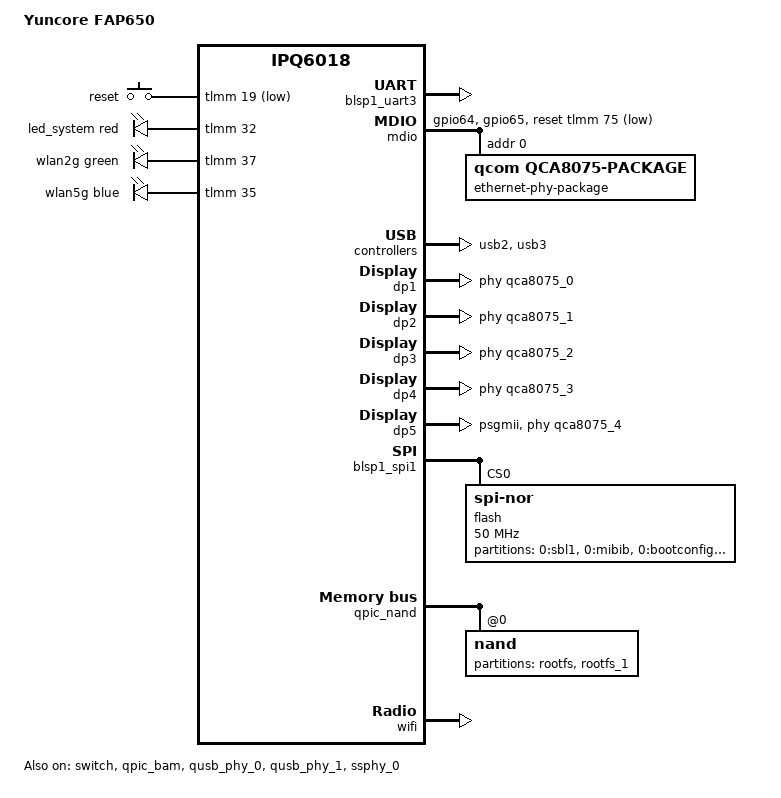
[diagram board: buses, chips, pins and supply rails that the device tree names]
// SPDX-License-Identifier: MIT, GPL-2.0 or later
/* Copyright (c) 2023, Ruslan Isaev <legale.legale@gmail.com> */

/dts-v1/;

#include "ipq6018-512m.dtsi"
#include "ipq6018-cp-cpu.dtsi"
#include "ipq6018-ess.dtsi"
#include <dt-bindings/gpio/gpio.h>
#include <dt-bindings/input/input.h>
#include <dt-bindings/leds/common.h>

/ {
	model = "Yuncore FAP650";
	compatible = "yuncore,fap650", "qcom,ipq6018";
	
	aliases {
		ethernet0 = &dp5;
		ethernet1 = &dp4;
		ethernet2 = &dp3;
		ethernet3 = &dp2;
		ethernet4 = &dp1;
		label-mac-device = &dp5;
		serial0 = &blsp1_uart3;
		led-boot = &led_system;
		led-failsafe = &led_system;
		led-running = &led_system;
		led-upgrade = &led_system;
	};

	chosen {
		stdout-path = "serial0:115200n8";
		bootargs-append = " root=/dev/ubiblock0_1";
	};

	keys {
		compatible = "gpio-keys";

		reset {
			label = "reset";
			gpios = <&tlmm 19 GPIO_ACTIVE_LOW>;
			linux,code = <KEY_RESTART>;
		};
	};

	leds {
		compatible = "gpio-leds";

		led_system: system {
			color = <LED_COLOR_ID_RED>;
			function = LED_FUNCTION_STATUS;
			gpios = <&tlmm 32 GPIO_ACTIVE_HIGH>;
		};

		wlan2g {
			color = <LED_COLOR_ID_GREEN>;
			function = LED_FUNCTION_WLAN_2GHZ;
			gpios = <&tlmm 37 GPIO_ACTIVE_HIGH>;
		};

		wlan5g {
			color = <LED_COLOR_ID_BLUE>;
			function = LED_FUNCTION_WLAN_5GHZ;
			gpios = <&tlmm 35 GPIO_ACTIVE_HIGH>;
		};
	};
};

&blsp1_uart3 {
	pinctrl-0 = <&serial_3_pins>;
	pinctrl-names = "default";
	status = "okay";
};

&tlmm {
	mdio_pins: mdio-pins {
		mdc {
			pins = "gpio64";
			function = "mdc";
			drive-strength = <8>;
			bias-pull-up;
		};

		mdio {
			pins = "gpio65";
			function = "mdio";
			drive-strength = <8>;
			bias-pull-up;
		};
	};
};

&mdio {
	status = "okay";
	pinctrl-0 = <&mdio_pins>;
	pinctrl-names = "default";
	reset-gpios = <&tlmm 75 GPIO_ACTIVE_LOW>;
	reset-delay-us = <10000>;
	reset-post-delay-us = <50000>;

	ethernet-phy-package@0 {
		#address-cells = <1>;
		#size-cells = <0>;
		compatible = "qcom,qca8075-package";
		reg = <0>;

		qcom,package-mode = "psgmii";

		qca8075_0: ethernet-phy@0 {
			compatible = "ethernet-phy-ieee802.3-c22";
			reg = <0>;
		};

		qca8075_1: ethernet-phy@1 {
			compatible = "ethernet-phy-ieee802.3-c22";
			reg = <1>;
		};

		qca8075_2: ethernet-phy@2 {
			compatible = "ethernet-phy-ieee802.3-c22";
			reg = <2>;
		};

		qca8075_3: ethernet-phy@3 {
			compatible = "ethernet-phy-ieee802.3-c22";
			reg = <3>;
		};

		qca8075_4: ethernet-phy@4 {
			compatible = "ethernet-phy-ieee802.3-c22";
			reg = <4>;
		};
	};
};

&switch {
	status = "okay";
	switch_lan_bmp = <(ESS_PORT1|ESS_PORT2|ESS_PORT3|ESS_PORT4)>; /* lan port bitmap */
	switch_wan_bmp = <ESS_PORT5>; /* wan port bitmap */
	switch_mac_mode = <MAC_MODE_PSGMII>; /* mac mode for uniphy instance0*/

	qcom,port_phyinfo {
		port@1 {
			port_id = <1>;
			phy_address = <0>;
		};

		port@2 {
			port_id = <2>;
			phy_address = <1>;
		};

		port@3 {
			port_id = <3>;
			phy_address = <2>;
		};

		port@4 {
			port_id = <4>;
			phy_address = <3>;
		};

		port@5 {
			port_id = <5>;
			phy_address = <4>;
		};
	};
};

&usb2 {
	status = "okay";
};

&usb3 {
	status = "okay";
};

&edma {
	status = "okay";
};

&dp1 {
	status = "okay";
	phy-handle = <&qca8075_0>;
	label = "lan1";
};

&dp2 {
	status = "okay";
	phy-handle = <&qca8075_1>;
	label = "lan2";
};

&dp3 {
	status = "okay";
	phy-handle = <&qca8075_2>;
	label = "lan3";
};

&dp4 {
	status = "okay";
	phy-handle = <&qca8075_3>;
	label = "lan4";
};

&dp5 {
	status = "okay";
	phy-handle = <&qca8075_4>;
	phy-mode = "psgmii";
	label = "wan";
};

&qpic_bam {
	status = "okay";
};

&blsp1_spi1 {
	status = "okay";
	
	flash@0 {
		#address-cells = <1>;
		#size-cells = <1>;
		reg = <0>;
		compatible = "jedec,spi-nor";
		spi-max-frequency = <50000000>;

		partitions {
			compatible = "fixed-partitions";

			partition@0 {
				reg = <0x00000000 0x000c0000>;
				label = "0:sbl1";
			};

			partition@c0000 {
				reg = <0x000c0000 0x00010000>;
				label = "0:mibib";
			};

			partition@d0000 {
				reg = <0x000d0000 0x00020000>;
				label = "0:bootconfig";
			};

			partition@f0000 {
				reg = <0x000f0000 0x00020000>;
				label = "0:bootconfig1";
			};

			partition@110000 {
				reg = <0x00110000 0x001a0000>;
				label = "0:qsee";
			};

			partition@2b0000 {
				reg = <0x002b0000 0x001a0000>;
				label = "0:qsee_1";
			};

			partition@450000 {
				reg = <0x00450000 0x00010000>;
				label = "0:devcfg";
			};

			partition@460000 {
				reg = <0x00460000 0x00010000>;
				label = "0:devcfg_1";
			};

			partition@470000 {
				reg = <0x00470000 0x00040000>;
				label = "0:rpm";
			};

			partition@4b0000 {
				reg = <0x004b0000 0x00040000>;
				label = "0:rpm_1";
			};

			partition@4f0000 {
				reg = <0x004f0000 0x00010000>;
				label = "0:cdt";
			};

			partition@500000 {
				reg = <0x00500000 0x00010000>;
				label = "0:cdt_1";
			};

			partition@510000 {
				reg = <0x00510000 0x00010000>;
				label = "0:appsblenv";
			};

			partition@520000 {
				reg = <0x00520000 0x000a0000>;
				label = "0:appsbl";
			};

			partition@5c0000 {
				reg = <0x005c0000 0x000a0000>;
				label = "0:appsbl_1";
			};

			partition@660000 {
				reg = <0x00660000 0x00040000>;
				label = "0:art";
			};
		};
	};
};

&qpic_nand {
	status = "okay";

	nand@0 {
		reg = <0>;

		nand-ecc-strength = <4>;
		nand-ecc-step-size = <512>;
		nand-bus-width = <8>;
	
		partitions {
			compatible = "fixed-partitions";
			#address-cells = <1>;
			#size-cells = <1>;

			partition@0 {
				label = "rootfs";
				reg = <0x00000000 0x03c00000>;
			};

			partition@3c00000 {
				label = "rootfs_1";
				reg = <0x03c00000 0x03c00000>;
			};
		};
	};
};

&wifi {
 	qcom,ath11k-calibration-variant = "Yuncore-FAP650";
	qcom,ath11k-fw-memory-mode = <1>;
	status = "okay";
};

&qusb_phy_0 {
	status = "okay";
};

&qusb_phy_1 {
	status = "okay";
};

&ssphy_0 {
	status = "okay";
};

&usb3 {
	status = "okay";
};

&usb2 {
	status = "okay";
};
